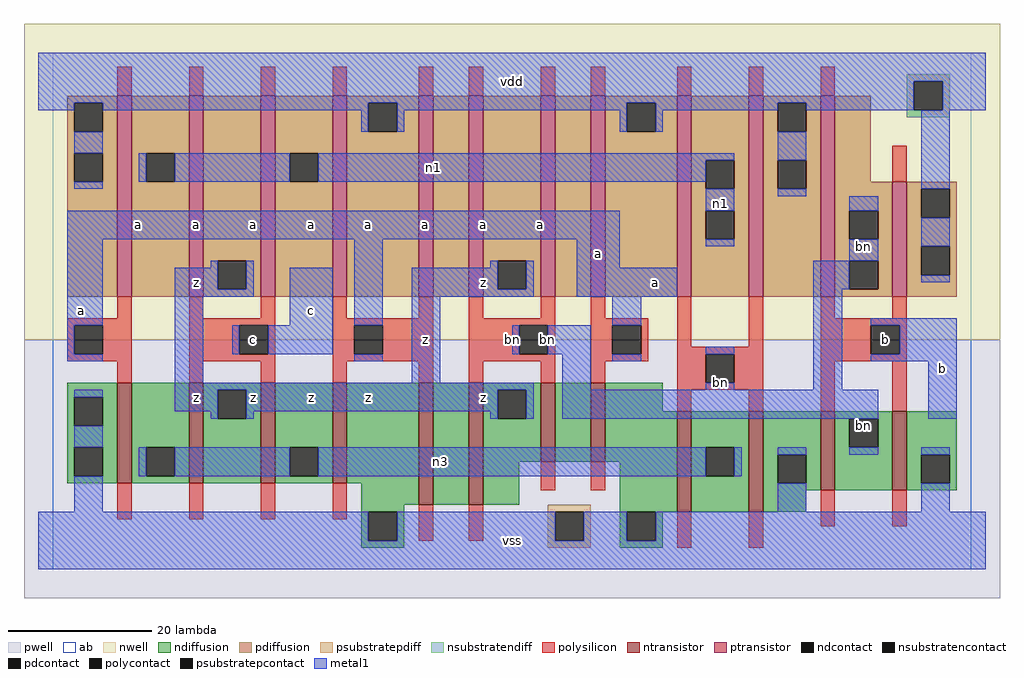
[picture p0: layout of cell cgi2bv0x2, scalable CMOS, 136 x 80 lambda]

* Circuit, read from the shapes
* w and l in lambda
.subckt cgi2bv0x2 a b bn c n1 n3 vdd vss z
M1 n3 a vss vss nfet w=14 l=2 m=2
M2 z c n3 vss nfet w=14 l=2 m=2
M3 n2 a vss vss nfet w=17 l=2
M4 z bn n2 vss nfet w=17 l=2
M5 n4 bn z vss nfet w=11 l=2
M6 vss a n4 vss nfet w=11 l=2
M7 n3 bn vss vss nfet w=14 l=2 m=2
M8 bn b vss vss nfet w=11 l=2 m=2
M9 n1 a vdd vdd pfet w=28 l=2 m=2
M10 z c n1 vdd pfet w=28 l=2 m=2
M11 n5 a vdd vdd pfet w=28 l=2
M12 z bn n5 vdd pfet w=28 l=2
M13 n6 bn z vdd pfet w=28 l=2
M14 vdd a n6 vdd pfet w=28 l=2
M15 n1 bn vdd vdd pfet w=28 l=2 m=2
M16 bn b vdd vdd pfet w=28 l=2
M17 vdd b bn vdd pfet w=16 l=2
.ends

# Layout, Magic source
magic
tech scmos
<< ab >>
rect 0 0 128 72
<< pwell >>
rect -4 -4 132 32
<< nwell >>
rect -4 32 132 76
<< polysilicon >>
rect 9 66 11 70
rect 19 66 21 70
rect 29 66 31 70
rect 39 66 41 70
rect 51 66 53 70
rect 58 66 60 70
rect 68 66 70 70
rect 75 66 77 70
rect 87 66 89 70
rect 97 66 99 70
rect 107 66 109 70
rect 117 54 119 59
rect 9 35 11 38
rect 2 34 11 35
rect 2 30 3 34
rect 7 30 11 34
rect 2 29 11 30
rect 9 26 11 29
rect 19 35 21 38
rect 29 35 31 38
rect 19 34 31 35
rect 19 30 26 34
rect 30 30 31 34
rect 19 29 31 30
rect 19 26 21 29
rect 29 26 31 29
rect 39 35 41 38
rect 51 35 53 38
rect 39 34 53 35
rect 39 30 42 34
rect 46 30 53 34
rect 39 29 53 30
rect 39 26 41 29
rect 51 26 53 29
rect 58 35 60 38
rect 68 35 70 38
rect 58 34 70 35
rect 58 30 65 34
rect 69 30 70 34
rect 58 29 70 30
rect 58 26 60 29
rect 68 26 70 29
rect 75 35 77 38
rect 75 34 83 35
rect 75 30 78 34
rect 82 30 83 34
rect 75 29 83 30
rect 87 31 89 38
rect 97 31 99 38
rect 87 30 99 31
rect 75 26 77 29
rect 87 26 91 30
rect 95 26 99 30
rect 9 7 11 12
rect 19 7 21 12
rect 29 7 31 12
rect 39 7 41 12
rect 87 25 99 26
rect 87 22 89 25
rect 97 22 99 25
rect 107 35 109 38
rect 117 35 119 38
rect 107 34 119 35
rect 107 30 114 34
rect 118 30 119 34
rect 107 29 119 30
rect 107 22 109 29
rect 117 22 119 29
rect 68 11 70 15
rect 75 11 77 15
rect 51 4 53 9
rect 58 4 60 9
rect 87 3 89 8
rect 97 3 99 8
rect 107 6 109 11
rect 117 6 119 11
<< ndiffusion >>
rect 2 24 9 26
rect 2 20 3 24
rect 7 20 9 24
rect 2 17 9 20
rect 2 13 3 17
rect 7 13 9 17
rect 2 12 9 13
rect 11 17 19 26
rect 11 13 13 17
rect 17 13 19 17
rect 11 12 19 13
rect 21 25 29 26
rect 21 21 23 25
rect 27 21 29 25
rect 21 12 29 21
rect 31 17 39 26
rect 31 13 33 17
rect 37 13 39 17
rect 31 12 39 13
rect 41 12 51 26
rect 43 9 51 12
rect 53 9 58 26
rect 60 25 68 26
rect 60 21 62 25
rect 66 21 68 25
rect 60 15 68 21
rect 70 15 75 26
rect 77 22 85 26
rect 77 15 87 22
rect 60 9 65 15
rect 43 8 49 9
rect 43 4 44 8
rect 48 4 49 8
rect 43 3 49 4
rect 79 8 87 15
rect 89 17 97 22
rect 89 13 91 17
rect 95 13 97 17
rect 89 8 97 13
rect 99 16 107 22
rect 99 12 101 16
rect 105 12 107 16
rect 99 11 107 12
rect 109 21 117 22
rect 109 17 111 21
rect 115 17 117 21
rect 109 11 117 17
rect 119 16 126 22
rect 119 12 121 16
rect 125 12 126 16
rect 119 11 126 12
rect 99 8 105 11
rect 79 4 80 8
rect 84 4 85 8
rect 79 3 85 4
<< pdiffusion >>
rect 2 65 9 66
rect 2 61 3 65
rect 7 61 9 65
rect 2 58 9 61
rect 2 54 3 58
rect 7 54 9 58
rect 2 38 9 54
rect 11 58 19 66
rect 11 54 13 58
rect 17 54 19 58
rect 11 38 19 54
rect 21 43 29 66
rect 21 39 23 43
rect 27 39 29 43
rect 21 38 29 39
rect 31 58 39 66
rect 31 54 33 58
rect 37 54 39 58
rect 31 38 39 54
rect 41 65 51 66
rect 41 61 44 65
rect 48 61 51 65
rect 41 38 51 61
rect 53 38 58 66
rect 60 43 68 66
rect 60 39 62 43
rect 66 39 68 43
rect 60 38 68 39
rect 70 38 75 66
rect 77 65 87 66
rect 77 61 80 65
rect 84 61 87 65
rect 77 38 87 61
rect 89 57 97 66
rect 89 53 91 57
rect 95 53 97 57
rect 89 50 97 53
rect 89 46 91 50
rect 95 46 97 50
rect 89 38 97 46
rect 99 65 107 66
rect 99 61 101 65
rect 105 61 107 65
rect 99 57 107 61
rect 99 53 101 57
rect 105 53 107 57
rect 99 38 107 53
rect 109 54 114 66
rect 109 50 117 54
rect 109 46 111 50
rect 115 46 117 50
rect 109 43 117 46
rect 109 39 111 43
rect 115 39 117 43
rect 109 38 117 39
rect 119 53 126 54
rect 119 49 121 53
rect 125 49 126 53
rect 119 45 126 49
rect 119 41 121 45
rect 125 41 126 45
rect 119 38 126 41
<< metal1 >>
rect -2 68 130 72
rect -2 65 120 68
rect -2 64 3 65
rect 7 64 44 65
rect 43 61 44 64
rect 48 64 80 65
rect 48 61 49 64
rect 79 61 80 64
rect 84 64 101 65
rect 84 61 85 64
rect 105 64 120 65
rect 124 64 130 68
rect 3 58 7 61
rect 12 54 13 58
rect 17 54 33 58
rect 37 57 95 58
rect 37 54 91 57
rect 3 53 7 54
rect 91 50 95 53
rect 101 57 105 61
rect 101 52 105 53
rect 121 53 125 64
rect 2 46 79 50
rect 2 34 7 46
rect 22 42 23 43
rect 2 30 3 34
rect 2 29 7 30
rect 17 39 23 42
rect 27 39 28 43
rect 17 38 28 39
rect 17 26 21 38
rect 33 34 39 42
rect 25 30 26 34
rect 30 30 39 34
rect 42 34 46 46
rect 61 42 62 43
rect 42 29 46 30
rect 50 39 62 42
rect 66 39 67 43
rect 50 38 67 39
rect 73 42 79 46
rect 91 45 95 46
rect 111 50 115 52
rect 111 43 115 46
rect 73 38 87 42
rect 106 39 111 43
rect 121 45 125 49
rect 121 40 125 41
rect 50 26 54 38
rect 78 34 82 38
rect 64 30 65 34
rect 69 30 75 34
rect 17 25 67 26
rect 3 24 7 25
rect 17 22 23 25
rect 22 21 23 22
rect 27 22 62 25
rect 27 21 28 22
rect 61 21 62 22
rect 66 21 67 25
rect 71 25 75 30
rect 78 29 82 30
rect 91 30 95 31
rect 91 25 95 26
rect 106 25 110 39
rect 114 34 126 35
rect 118 30 126 34
rect 114 29 126 30
rect 71 21 115 25
rect 122 21 126 29
rect 3 17 7 20
rect 12 13 13 17
rect 17 13 33 17
rect 37 13 91 17
rect 95 13 96 17
rect 101 16 105 17
rect 111 16 115 17
rect 121 16 125 17
rect 3 8 7 13
rect 101 8 105 12
rect 121 8 125 12
rect -2 4 44 8
rect 48 4 70 8
rect 74 4 80 8
rect 84 4 130 8
rect -2 0 130 4
<< ntransistor >>
rect 9 12 11 26
rect 19 12 21 26
rect 29 12 31 26
rect 39 12 41 26
rect 51 9 53 26
rect 58 9 60 26
rect 68 15 70 26
rect 75 15 77 26
rect 87 8 89 22
rect 97 8 99 22
rect 107 11 109 22
rect 117 11 119 22
<< ptransistor >>
rect 9 38 11 66
rect 19 38 21 66
rect 29 38 31 66
rect 39 38 41 66
rect 51 38 53 66
rect 58 38 60 66
rect 68 38 70 66
rect 75 38 77 66
rect 87 38 89 66
rect 97 38 99 66
rect 107 38 109 66
rect 117 38 119 54
<< polycontact >>
rect 3 30 7 34
rect 26 30 30 34
rect 42 30 46 34
rect 65 30 69 34
rect 78 30 82 34
rect 91 26 95 30
rect 114 30 118 34
<< ndcontact >>
rect 3 20 7 24
rect 3 13 7 17
rect 13 13 17 17
rect 23 21 27 25
rect 33 13 37 17
rect 62 21 66 25
rect 44 4 48 8
rect 91 13 95 17
rect 101 12 105 16
rect 111 17 115 21
rect 121 12 125 16
rect 80 4 84 8
<< pdcontact >>
rect 3 61 7 65
rect 3 54 7 58
rect 13 54 17 58
rect 23 39 27 43
rect 33 54 37 58
rect 44 61 48 65
rect 62 39 66 43
rect 80 61 84 65
rect 91 53 95 57
rect 91 46 95 50
rect 101 61 105 65
rect 101 53 105 57
rect 111 46 115 50
rect 111 39 115 43
rect 121 49 125 53
rect 121 41 125 45
<< psubstratepcontact >>
rect 70 4 74 8
<< nsubstratencontact >>
rect 120 64 124 68
<< psubstratepdiff >>
rect 69 8 75 9
rect 69 4 70 8
rect 74 4 75 8
rect 69 3 75 4
<< nsubstratendiff >>
rect 119 68 125 69
rect 119 64 120 68
rect 124 64 125 68
rect 119 63 125 64
<< labels >>
rlabel polysilicon 64 32 64 32 6 bn
rlabel metal1 20 24 20 24 6 z
rlabel metal1 20 40 20 40 6 z
rlabel metal1 4 36 4 36 6 a
rlabel metal1 12 48 12 48 6 a
rlabel metal1 20 48 20 48 6 a
rlabel metal1 28 24 28 24 6 z
rlabel metal1 36 24 36 24 6 z
rlabel metal1 44 24 44 24 6 z
rlabel polycontact 28 32 28 32 6 c
rlabel metal1 36 36 36 36 6 c
rlabel metal1 28 48 28 48 6 a
rlabel metal1 36 48 36 48 6 a
rlabel metal1 44 48 44 48 6 a
rlabel metal1 64 4 64 4 6 vss
rlabel metal1 60 24 60 24 6 z
rlabel metal1 69 32 69 32 6 bn
rlabel metal1 52 32 52 32 6 z
rlabel metal1 60 40 60 40 6 z
rlabel metal1 52 48 52 48 6 a
rlabel metal1 60 48 60 48 6 a
rlabel metal1 68 48 68 48 6 a
rlabel metal1 64 68 64 68 6 vdd
rlabel metal1 54 15 54 15 6 n3
rlabel metal1 93 26 93 26 6 bn
rlabel metal1 84 40 84 40 6 a
rlabel metal1 76 44 76 44 6 a
rlabel metal1 93 51 93 51 6 n1
rlabel metal1 53 56 53 56 6 n1
rlabel ndcontact 113 20 113 20 6 bn
rlabel polycontact 116 32 116 32 6 b
rlabel metal1 124 28 124 28 6 b
rlabel metal1 113 45 113 45 6 bn
<< end >>
